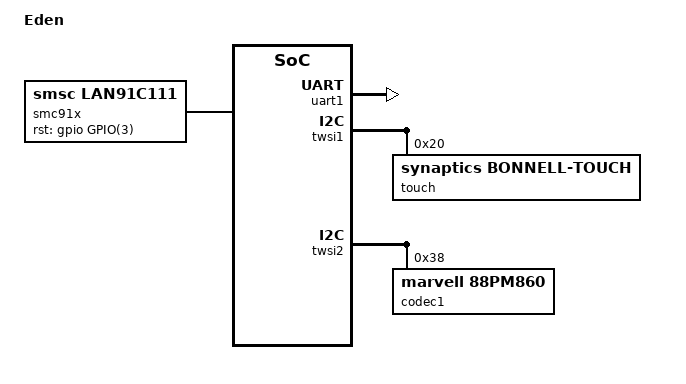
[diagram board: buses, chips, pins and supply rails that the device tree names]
/*
 * Eden FPGA Board
 */

/dts-v1/;
/memreserve/ 0x09000000 0x04000000;	/* ION */
/memreserve/ 0x17000000 0x017e8000;	/* default fb-mem (size: 1088*1920*4*3) */
#include "eden.dtsi"

/ {
	model = "Eden";
	compatible = "mrvl,eden-fpga", "mrvl,eden";

	interrupt-parent = <&gic>;

	memory@0 {
		device_type = "memory";
		reg = <0 0 0x20000000>;
	};

	gic: interrupt-controller@d1e02000 {
		status = "okay";
	};

	ion {
		status = "okay";
		marvell,ion-nr = <2>;
		marvell,ion-iommu = <1>;
		heap1 {
			marvell,ion-name = "carveout_heap";
			marvell,ion-type = <2>;
			marvell,ion-id = <2>;
			marvell,ion-base = <0x09000000>;
			marvell,ion-size = <0x04000000>;
		};
		heap2 {
			marvell,ion-name = "system_heap";
			marvell,ion-type = <0>;
			marvell,ion-id = <0>;
		};
	};

	board {
		pll1_416_freq {
			freq = <26000000>;
		};
		pll1_624_freq {
			freq = <26000000>;
		};
	};

	soc {
		axi@d4200000 {
			sdh3: sdh@d4280000 {
				bus-width = <4>;
				mrvl,clk-delay-cycles = <0x1f>;
				wp-inverted;
				status = "okay";
			};

			vdma: vdma@d427f000 {
				marvell,vdma-num = <4>;
				status = "okay";
				vdma1 {
					marvell,vdma-id = <0>;
					marvell,sram-size = <15360>;
					marvell,is_vid = <0>;
				};
				vdma2 {
					marvell,vdma-id = <1>;
					marvell,sram-size = <15360>;
					marvell,is_vid = <0>;
				};
				vdma3 {
					marvell,vdma-id = <2>;
					marvell,sram-size = <15360>;
					marvell,is_vid = <1>;
				};
				vdma4 {
					marvell,vdma-id = <3>;
					marvell,sram-size = <15360>;
					marvell,is_vid = <1>;
				};
			};

			apical: apical@d420b400 {
				marvell,apical-num = <1>;
				status = "okay";
			};

			disp: disp@d420b000 {
				marvell,disp-name = "mmp_disp";
				marvell,path-num = <1>;
				status = "okay";
				path1 {
					marvell,path-name = "mmp_pnpath";
					marvell,overlay-num = <2>;
					marvell,overlay-table = <0>, <1>;
					marvell,output-type = <0>;
					marvell,link-config = <0x60000001>;
					marvell,path-config = <0x20000000>;
					pn_sclk_clksrc {
						clksrc = "disp1";
					};
					disp1_clksrc {
						clksrc = "pll1_416";
					};
					disp_apmu_ver {
						version = "ax";
					};
				};
			};

			fb: fb {
				marvell,fb-name = "mmp_fb";
				marvell,path-name = "mmp_pnpath";
				marvell,overlay-id = <1>;
				marvell,default-pixfmt = <0x100>;
				marvell,buffer-num = <3>;
				marvell,fb-mem = <0x17000000>;
				status = "okay";
			};

			fb1: fb-overlay {
				marvell,fb-name = "mmp_fb_overlay";
				marvell,path-name = "mmp_pnpath";
				marvell,overlay-id = <0>;
				status = "okay";
			};
			adma0: adma@c0ffd800 {
				status = "okay";
			};
			adma1: adma@c0ffd900 {
				status = "okay";
			};
		};

		axi@f0400000 {
			dec@0xf0400000 {
				marvell,codec-type = <0>;
				marvell,hw-capacity = <0>;
				status = "okay";
			};

			pp@0xf0400000 {
				marvell,codec-type = <1>;
				marvell,hw-capacity = <0>;
				status = "okay";
			};

			enc@0xf0400800 {
				marvell,codec-type = <2>;
				marvell,hw-capacity = <0>;
				status = "okay";
			};
		};

		apb@d4000000 {
			/* PDMA Controller 0 */
			pdma0: pdma@d4000000 {
				status = "okay";
			};

			/* PDMA Controller 1 */
			pdma1: pdma@d4008000 {
				status = "okay";
			};

			uart1: uart@d4030000 {
				status = "okay";

				uart0_clksrc {
					clksrc = "vctcxo";
				};
			};

			twsi1: i2c@d4011000 {
				status = "okay";
				touch: bonnell@20 {
					compatible = "synaptics,bonnell-touch";
					reg = <0x20>;
				};
			};

			gpio: gpio@d4019000 {
				status = "okay";
			};

			rtc: rtc@d4010000 {
				status = "okay";
			};

			/* SSPA port 0 */
			sspa0: sspa@c0ffdc00 {
				playback_period_bytes = <4096>;
				playback_buffer_bytes = <12288>;
				capture_period_bytes = <4096>;
				capture_buffer_bytes = <12288>;
				status = "okay";
			};

			/* SSPA port 1 */
			sspa1: sspa@c0ffdd00 {
				playback_period_bytes = <4096>;
				playback_buffer_bytes = <12288>;
				capture_period_bytes = <4096>;
				capture_buffer_bytes = <12288>;
				status = "okay";
			};

			map: map@c3000000 {
				status = "okay";
			};

			sound {
				compatible = "marvell,mmp-map-snd-card";
				sspa-controllers = <&sspa0 &sspa1>;
			};

			twsi2: i2c@d4031000 {
				/*pinctrl-names = "default"; pinctrl-0 = <&twsi2_pins>;*/
				status = "okay";

				codec1: 88pm860@38 {
					compatible = "marvell,88pm860";
					reg = <0x38>;
				};
			};

			pmx: pinmux@d401e000 {
				status = "okay";
				/* pin base, nr pins & gpio function */
				pinctrl-single,gpio-range = <EDEN_GPIO_PINMUX>;
			};

			timer: timer@d4080000 {
				marvell,timer-fc_freq = <32768>;

				counter0 {
					marvell,timer-counter-cnt_freq = <32768>;
				};

				counter1 {
					marvell,timer-counter-cnt_freq = <32768>;
				};

				counter2 {
					marvell,timer-counter-cnt_freq = <32768>;
				};
			};
		};
	};

	panel: td043mgea1 {
		compatible = "marvell,mmp-td043mgea1";
		marvell,path-name = "mmp_pnpath";
		status = "okay";
	};

	smc91x: smc91x@80000300 {
		compatible = "smsc,lan91c111";
		reg = <0x0 0x80000300 0xffcff>;
		interrupts = <0 63 0x1>;
		rst_gpio = <&gpio GPIO(3) 0>;
		clksrc = "smc91x";
		status = "okay";
	};

};
